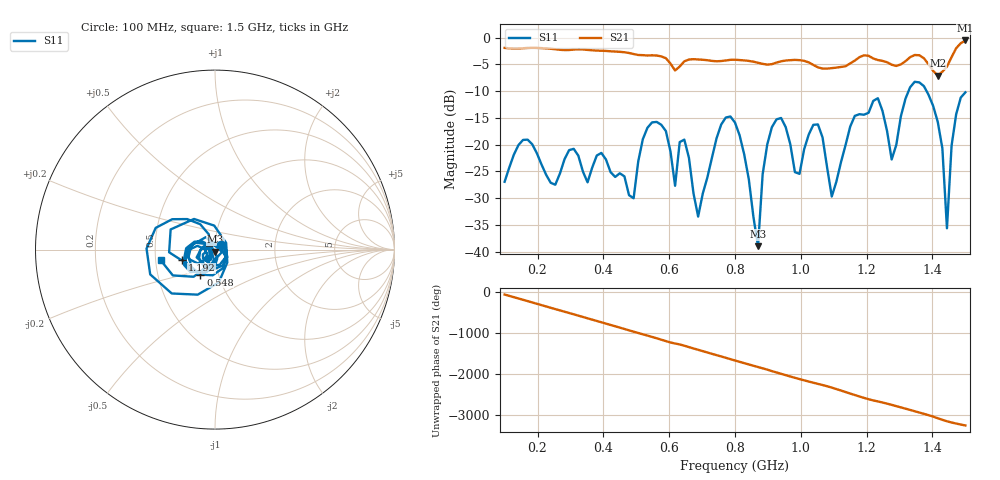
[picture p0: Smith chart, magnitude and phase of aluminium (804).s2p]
! NanoVNA-App
! Date: 2025-09-25 15:01:32
! Start: 100MHz Stop: 1,5GHz Points: 101
! S-Parameter data: F S11 S21 S12 S22
# Hz S RI R 50
!  Frequency  S11_Real  S11_Imag  S21_Real  S21_Imag  S12_Real  S12_Imag  S22_Real  S22_Imag
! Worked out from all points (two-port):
!   101 points, 100 MHz to 1.5 GHz, reference 50 ohm
!   highest |S21| = -0.53 dB at 1.5 GHz (marker M1); lowest = -7.1 dB at 1.416 GHz (marker M2)
!   |S21| within 3 dB of the highest: start of sweep to 576.9 MHz; 1.459 GHz to end of sweep (the widest 2 of 4)
!   lowest |S11| = -39.0 dB at 870 MHz (marker M3), VSWR 1.02, Z = 50.1 - j1.12 ohm
!   |S11| at or under -10 dB: start of sweep to 1.327 GHz; 1.382 GHz to end of sweep
!   S12 and S22 are empty: the file has one direction only
!   S11 on the Smith chart (normalised r, x): 100 MHz: 1.07, +0.06; 548 MHz: 0.82, -0.23; 1.192 GHz: 0.69, -0.08; 1.5 GHz: 0.53, -0.07
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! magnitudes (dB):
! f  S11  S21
! 100 MHz  -27.0  -1.9
! 156 MHz  -19.1  -2.0
! 338 MHz  -25.0  -2.2
! 492 MHz  -30.0  -3.1
! 548 MHz  -15.9  -3.3
! 576 MHz  -16.3  -3.5
! 618 MHz  -27.7  -6.1
! 646 MHz  -19.1  -4.4
! 688 MHz  -33.5  -4.1
! 800 MHz  -15.9  -4.1
! 870 MHz  -39.0  -4.7
! 912 MHz  -16.8  -5.0
! 996 MHz  -25.5  -4.2
! 1.038 GHz  -16.3  -5.1
! 1.094 GHz  -29.7  -5.7
! 1.192 GHz  -14.4  -3.3
! 1.276 GHz  -22.8  -5.1
! 1.346 GHz  -8.3  -3.2
! 1.416 GHz  -15.7  -7.1
! 1.444 GHz  -35.7  -5.4
! 1.458 GHz  -20.2  -3.6
! 1.5 GHz  -10.2  -0.5
